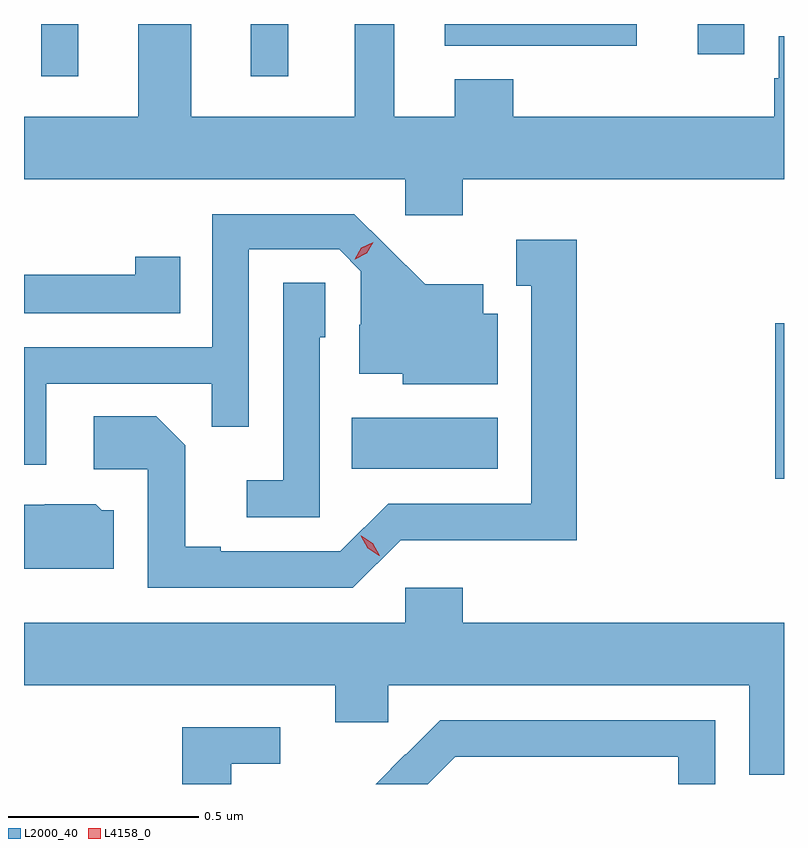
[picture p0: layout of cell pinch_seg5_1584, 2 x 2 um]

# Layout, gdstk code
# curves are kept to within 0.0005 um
import gdstk
lib = gdstk.Library(unit=1e-6, precision=1e-09)
def R(c, l, rs):  # rectangles x0, y0, x1, y1
    for r in rs: c.add(gdstk.rectangle(r[:2], r[2:], *l))
def P(c, l, *ps):  # polygons
    for p in ps: c.add(gdstk.Polygon(p, *l))
L2000_40 = (2000, 40)
L4158_0 = (4158, 0)

pinch_seg5_1584 = lib.new_cell('pinch_seg5_1584')
R(pinch_seg5_1584, L2000_40, [(306.314,849.311,306.337,849.721), (305.2,849.338,305.584,849.472), (304.382,850.371,304.48,850.508), (304.934,850.371,305.032,850.508), (306.11,850.428,306.232,850.508), (305.444,850.451,305.95,850.508)])
P(pinch_seg5_1584, L2000_40, [(305.492,850.1),(306.337,850.1),(306.337,850.476),(306.323,850.476),(306.323,850.365),(306.311,850.365),(306.311,850.264),(305.624,850.264),(305.624,850.363),(305.471,850.363),(305.471,850.264),(305.311,850.264),(305.311,850.508),(305.207,850.508),(305.207,850.264),(304.777,850.264),(304.777,850.508),(304.637,850.508),(304.637,850.264),(304.337,850.264),(304.337,850.1),(305.34,850.1),(305.34,850.005),(305.492,850.005)],
  [(304.395,849.561),(304.831,849.561),(304.831,849.448),(304.929,849.448),(304.929,849.915),(305.166,849.915),(305.223,849.858),(305.223,849.716),(305.219,849.716),(305.219,849.587),(305.334,849.587),(305.334,849.56),(305.584,849.56),(305.584,849.745),(305.545,849.745),(305.545,849.823),(305.393,849.823),(305.206,850.008),(304.833,850.008),(304.833,849.657),(304.337,849.657),(304.337,849.348),(304.395,849.348)],
  [(305.328,849.15),(305.55,849.15),(305.55,849.149),(305.791,849.149),(305.791,849.94),(305.633,849.94),(305.633,849.819),(305.672,849.819),(305.672,849.246),(305.295,849.246),(305.169,849.12),(304.855,849.12),(304.855,849.133),(304.761,849.133),(304.761,849.4),(304.685,849.476),(304.521,849.476),(304.521,849.336),(304.662,849.336),(304.662,849.024),(305.202,849.024)],
  [(304.748,849.895),(304.63,849.895),(304.63,849.848),(304.337,849.848),(304.337,849.747),(304.748,849.747)],
  [(305.115,849.684),(305.13,849.684),(305.13,849.827),(305.019,849.827),(305.019,849.307),(304.923,849.307),(304.923,849.21),(305.115,849.21)],
  [(304.573,849.228),(304.542,849.228),(304.526,849.244),(304.392,849.244),(304.392,849.243),(304.337,849.243),(304.337,849.074),(304.573,849.074)],
  [(305.492,849.025),(305.34,849.025),(305.34,848.932),(304.337,848.932),(304.337,848.768),(305.156,848.768),(305.156,848.67),(305.295,848.67),(305.295,848.768),(306.245,848.768),(306.245,848.533),(306.337,848.533),(306.337,848.932),(305.492,848.932)],
  [(305.472,848.58),(306.059,848.58),(306.059,848.508),(306.156,848.508),(306.156,848.676),(305.432,848.676),(305.341,848.585),(305.34,848.586),(305.262,848.508),(305.4,848.508)],
  [(304.882,848.561),(305.011,848.561),(305.011,848.658),(304.753,848.658),(304.753,848.508),(304.882,848.508)])
P(pinch_seg5_1584, L4158_0, [(305.272,849.109),(305.241,849.128),(305.223,849.161),(305.223,849.161),(305.224,849.161),(305.255,849.142),(305.273,849.109),(305.273,849.109)],
  [(305.208,849.889),(305.208,849.889),(305.225,849.919),(305.256,849.934),(305.256,849.934),(305.256,849.934),(305.239,849.905),(305.209,849.889)])

lib.write_gds('pinch_seg5_1584.gds')
